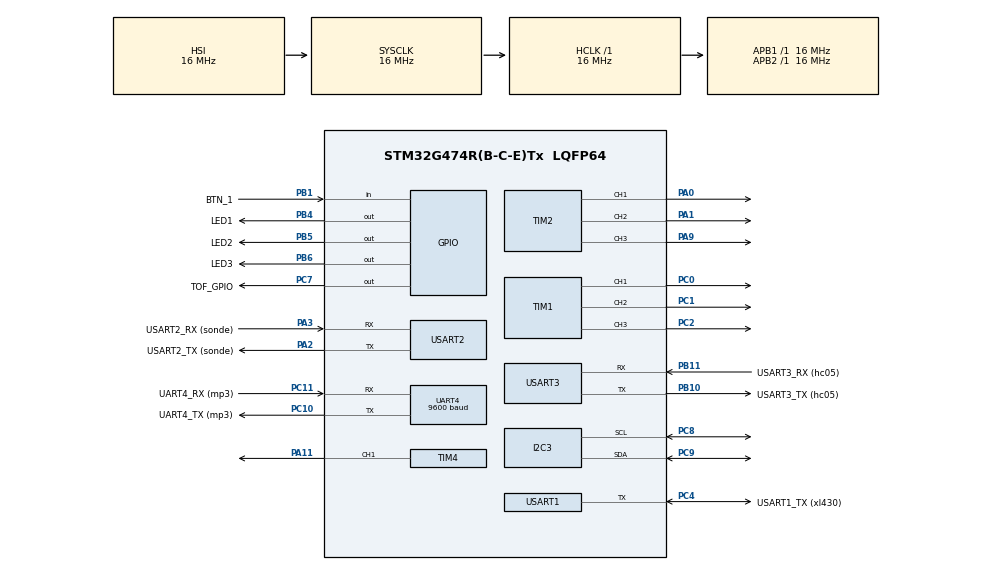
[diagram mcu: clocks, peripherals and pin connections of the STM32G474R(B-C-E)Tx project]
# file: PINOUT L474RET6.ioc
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I2C3.Timing=0x00503D58
Mcu.Family=STM32G4
Mcu.Name=STM32G474R(B-C-E)Tx
Mcu.Package=LQFP64
NVIC.PriorityGroup=NVIC_PRIORITYGROUP_4
PA0.Signal=S_TIM2_CH1
PA1.Signal=S_TIM2_CH2
PA11.Signal=S_TIM4_CH1
PA13.Mode=Serial_Wire
PA13.Signal=SYS_JTMS-SWDIO
PA14.Mode=Serial_Wire
PA14.Signal=SYS_JTCK-SWCLK
PA2.GPIO_Label=USART2_TX (sonde)
PA2.Mode=Asynchronous
PA2.Signal=USART2_TX
PA3.GPIO_Label=USART2_RX (sonde)
PA3.Mode=Asynchronous
PA3.Signal=USART2_RX
PA9.Signal=S_TIM2_CH3
PB1.GPIO_Label=BTN_1
PB1.Signal=GPIO_Input
PB10.GPIO_Label=USART3_TX (hc05)
PB10.Mode=Asynchronous
PB10.Signal=USART3_TX
PB11.GPIO_Label=USART3_RX (hc05)
PB11.Mode=Asynchronous
PB11.Signal=USART3_RX
PB4.GPIO_Label=LED1
PB4.Signal=GPIO_Output
PB5.GPIO_Label=LED2
PB5.Signal=GPIO_Output
PB6.GPIO_Label=LED3
PB6.Signal=GPIO_Output
PC0.Signal=S_TIM1_CH1
PC1.Signal=S_TIM1_CH2
PC10.GPIO_Label=UART4_TX (mp3)
PC10.Mode=Asynchronous
PC10.Signal=UART4_TX
PC11.GPIO_Label=UART4_RX (mp3)
PC11.Mode=Asynchronous
PC11.Signal=UART4_RX
PC2.Signal=S_TIM1_CH3
PC4.GPIO_Label=USART1_TX (xl430)
PC4.GPIO_PuPd=GPIO_PULLUP
PC4.Mode=Half_duplex(single_wire_mode)
PC4.Signal=USART1_TX
PC7.GPIO_Label=TOF_GPIO
PC7.Signal=GPIO_Output
PC8.Mode=I2C
PC8.Signal=I2C3_SCL
PC9.Mode=I2C
PC9.Signal=I2C3_SDA
ProjectManager.HeapSize=0x200
ProjectManager.StackSize=0x400
ProjectManager.TargetToolchain=STM32CubeIDE
RCC.AHBFreq_Value=16000000
RCC.APB1Freq_Value=16000000
RCC.APB1TimFreq_Value=16000000
RCC.APB2Freq_Value=16000000
RCC.APB2TimFreq_Value=16000000
RCC.CortexFreq_Value=16000000
RCC.EXTERNAL_CLOCK_VALUE=12288000
RCC.HCLKFreq_Value=16000000
RCC.HSE_VALUE=8000000
RCC.HSI48_VALUE=48000000
RCC.HSI_VALUE=16000000
RCC.LSE_VALUE=32768
RCC.SYSCLKFreq_VALUE=16000000
RCC.USBFreq_Value=64000000
RCC.VCOOutputFreq_Value=128000000
SH.S_TIM1_CH1.0=TIM1_CH1,PWM Generation1 CH1
SH.S_TIM1_CH2.0=TIM1_CH2,PWM Generation2 CH2
SH.S_TIM1_CH3.0=TIM1_CH3,PWM Generation3 CH3
SH.S_TIM2_CH1.0=TIM2_CH1,PWM Generation1 CH1
SH.S_TIM2_CH2.0=TIM2_CH2,PWM Generation2 CH2
SH.S_TIM2_CH3.0=TIM2_CH3,PWM Generation3 CH3
SH.S_TIM4_CH1.0=TIM4_CH1,PWM Generation1 CH1
TIM1.Channel-PWM\ Generation1\ CH1=TIM_CHANNEL_1
TIM1.Channel-PWM\ Generation2\ CH2=TIM_CHANNEL_2
TIM1.Channel-PWM\ Generation3\ CH3=TIM_CHANNEL_3
TIM2.Channel-PWM\ Generation1\ CH1=TIM_CHANNEL_1
TIM2.Channel-PWM\ Generation2\ CH2=TIM_CHANNEL_2
TIM2.Channel-PWM\ Generation3\ CH3=TIM_CHANNEL_3
TIM4.Channel-PWM\ Generation1\ CH1=TIM_CHANNEL_1
UART4.BaudRate=9600
UART4.SwapParam=UART_ADVFEATURE_SWAP_ENABLE
USART1.VirtualMode-Half_duplex(single_wire_mode)=VM_ASYNC
USART2.VirtualMode-Asynchronous=VM_ASYNC
USART3.VirtualMode-Asynchronous=VM_ASYNC
VP_SYS_VS_DBSignals.Mode=DisableDeadBatterySignals
VP_TIM1_VS_ClockSourceINT.Mode=Internal
VP_TIM2_VS_ClockSourceINT.Mode=Internal
VP_TIM4_VS_ClockSourceINT.Mode=Internal
board=custom

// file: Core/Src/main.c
/* USER CODE BEGIN Header */
/**
 ******************************************************************************
 * @file           : main.c
 * @brief          : Main program body
 ******************************************************************************
 * @attention
 *
 * Copyright (c) 2024 STMicroelectronics.
 * All rights reserved.
 *
 * This software is licensed under terms that can be found in the LICENSE file
 * in the root directory of this software component.
 * If no LICENSE file comes with this software, it is provided AS-IS.
 *
 ******************************************************************************
 */
/* USER CODE END Header */
#include "main.h"

/* USER CODE BEGIN Includes */
#include "xl430.h"
#include <stdio.h>
#include "stm32g4xx_hal.h"
#include "neopixel.h"
#include "vl53l1_platform.h"
#include "VL53L1X_api.h"
#include "mp3.h"

/* USER CODE END Includes */

/* USER CODE BEGIN PD */
#define VL53L1__ADDR 0x52
#ifdef __GNUC__
#define PUTCHAR_PROTOTYPE int __io_putchar(int ch)
#else
#define PUTCHAR_PROTOTYPE int fputc(int ch, FILE *f)
#endif
/* USER CODE END PD */

I2C_HandleTypeDef hi2c3;

TIM_HandleTypeDef htim1;
TIM_HandleTypeDef htim2;
TIM_HandleTypeDef htim4;

UART_HandleTypeDef huart4;
UART_HandleTypeDef huart1;
UART_HandleTypeDef huart2;
UART_HandleTypeDef huart3;

void SystemClock_Config(void);
static void MX_GPIO_Init(void);
static void MX_TIM1_Init(void);
static void MX_TIM2_Init(void);
static void MX_UART4_Init(void);
static void MX_USART1_UART_Init(void);
static void MX_USART2_UART_Init(void);
static void MX_USART3_UART_Init(void);
static void MX_I2C3_Init(void);
static void MX_TIM4_Init(void);

/* USER CODE BEGIN 0 */
#ifdef __GNUC__
#define PUTCHAR_PROTOTYPE int __io_putchar(int ch)
#define GETCHAR_PROTOTYPE int __io_getchar(void)
#else
#define PUTCHAR_PROTOTYPE int fputc(int ch, FILE *f)
#define GETCHAR_PROTOTYPE int fgetc(FILE *f)
#endif

PUTCHAR_PROTOTYPE {
    HAL_UART_Transmit(&huart2, (uint8_t *)&ch, 1, HAL_MAX_DELAY);
    return ch;
}

GETCHAR_PROTOTYPE
{
	uint8_t ch = 0;

	/* Clear the Overrun flag just before receiving the first character */
	__HAL_UART_CLEAR_OREFLAG(&huart2);

	/* Wait for reception of a character on the USART RX line and echo this
	 * character on console */
	HAL_UART_Receive(&huart2, (uint8_t *)&ch, 1, HAL_MAX_DELAY);
	HAL_UART_Transmit(&huart2, (uint8_t *)&ch, 1, HAL_MAX_DELAY);
	return ch;
}

/* USER CODE END 0 */

int main(void)
{

  /* MCU Configuration--------------------------------------------------------*/

  /* Reset of all peripherals, Initializes the Flash interface and the Systick. */
  HAL_Init();

  /* Configure the system clock */
  SystemClock_Config();

  /* Initialize all configured peripherals */
  MX_GPIO_Init();
  MX_TIM1_Init();
  MX_TIM2_Init();
  MX_UART4_Init();
  MX_USART1_UART_Init();
  MX_USART2_UART_Init();
  MX_USART3_UART_Init();
  MX_I2C3_Init();
  MX_TIM4_Init();
  /* USER CODE BEGIN 2 */

  /////// Init TOF

//  void I2C_Scan(I2C_HandleTypeDef *hi2c) {
//      printf("Scanning I2C bus...\r\n");
//      for (uint8_t addr = 0x01; addr < 0x7F; addr++) {
//          if (HAL_I2C_IsDeviceReady(hi2c, addr << 1, 1, 10) == HAL_OK) {
//              printf("Device found at 0x%02X\r\n", addr);
//          }
//      }
//      printf("Scan complete.\r\n");
//  }
//
//    uint8_t initStatus = VL53L1__Init();
//
//    if (initStatus != 0) {
//  	  printf("Erreur lors de l'initialisation du capteur ! Code erreur: %d\r\n", initStatus);
//        while (1);
//     }
//    printf("Capteur VL53L1X initialisé avec succès.\r\n");
//
//    uint16_t distance = 0;
//    uint8_t status;

  //////// Tests XL430

	printf("\r\n===== ANIMATRONIC EAGLE FUCK YEAH =====\r\n");
	__XL430_HandleTypeDef XL430_1;
	__XL430_HandleTypeDef XL430_2;

	/*XL430_Init(&XL430_1, &huart1, 3, 2);
	XL430_Init_debug(&XL430_1, &huart1, &huart2, 3, 2);
	XL430_Init(&XL430_2, &huart1, 4, 2);
	XL430_Init_debug(&XL430_2, &huart1, &huart2, 4, 2);
	//XL430_Ping(&XL430_1);
	//XL430_Ping(&XL430_2);
	XL430_Write_Data2(&XL430_1,XL430_REG_TORQUE_ENABLE,1);
	waitNms(20);
	XL430_Write_Data2(&XL430_2,XL430_REG_TORQUE_ENABLE,1);
	waitNms(20);
	(&XL430_2)->torque_enable = 1;
	(&XL430_1)->torque_enable = 1;
	XL430_Write_Data2(&XL430_1,XL430_REG_GOAL_VELOCITY,0);
	waitNms(40);
	XL430_Write_Data2(&XL430_2,XL430_REG_GOAL_VELOCITY,0);*/

	///////// Tests neopixel

	/*arrayResetAll();
	arrayRepaint();
	HAL_Delay(1000);
	arraySetColor(0,200,0,200);
	arraySetColor(25,220,220,0);
	arrayRepaint();
	HAL_Delay(1000);*/

	//arrayResetAll();
	//arrayRepaint();
	//HAL_Delay(500);
	//arraySetColor(0,255,0,0);
	//arraySetColor(1,255,0,0);
	//arraySetColor(142,255,255,0);
	//arraySetColor(141,255,255,0);
	//arrayRepaint();

	///////// Tests mp3 player

	mp3_selectStorageDevice();
	waitNms(20);
	mp3_setVolume(10);
	waitNms(20);
	mp3_playWithIndex(2);

  /* USER CODE END 2 */

  /* Infinite loop */
  /* USER CODE BEGIN WHILE */
	while (1)
	{

		///////// Tests TOF

//		status = VL53L1__GetDistance(&distance);
//		if (status == 0) {
//			printf("Distance mesurée: %d mm\r\n", distance);
//		} else {
//			printf("Erreur de lecture de la distance. Code erreur: %d\r\n", status);
//		}
//		waitNms(10);

		//rainbowWalk();
    /* USER CODE END WHILE */

	}
}

void SystemClock_Config(void)
{
  RCC_OscInitTypeDef RCC_OscInitStruct = {0};
  RCC_ClkInitTypeDef RCC_ClkInitStruct = {0};

  /** Configure the main internal regulator output voltage
  */
  HAL_PWREx_ControlVoltageScaling(PWR_REGULATOR_VOLTAGE_SCALE1);

  /** Initializes the RCC Oscillators according to the specified parameters
  * in the RCC_OscInitTypeDef structure.
  */
  RCC_OscInitStruct.OscillatorType = RCC_OSCILLATORTYPE_HSI;
  RCC_OscInitStruct.HSIState = RCC_HSI_ON;
  RCC_OscInitStruct.HSICalibrationValue = RCC_HSICALIBRATION_DEFAULT;
  RCC_OscInitStruct.PLL.PLLState = RCC_PLL_NONE;
  if (HAL_RCC_OscConfig(&RCC_OscInitStruct) != HAL_OK)
  {
    Error_Handler();
  }

  /** Initializes the CPU, AHB and APB buses clocks
  */
  RCC_ClkInitStruct.ClockType = RCC_CLOCKTYPE_HCLK|RCC_CLOCKTYPE_SYSCLK
                              |RCC_CLOCKTYPE_PCLK1|RCC_CLOCKTYPE_PCLK2;
  RCC_ClkInitStruct.SYSCLKSource = RCC_SYSCLKSOURCE_HSI;
  RCC_ClkInitStruct.AHBCLKDivider = RCC_SYSCLK_DIV1;
  RCC_ClkInitStruct.APB1CLKDivider = RCC_HCLK_DIV1;
  RCC_ClkInitStruct.APB2CLKDivider = RCC_HCLK_DIV1;

  if (HAL_RCC_ClockConfig(&RCC_ClkInitStruct, FLASH_LATENCY_0) != HAL_OK)
  {
    Error_Handler();
  }
}

static void MX_I2C3_Init(void)
{

  hi2c3.Instance = I2C3;
  hi2c3.Init.Timing = 0x00503D58;
  hi2c3.Init.OwnAddress1 = 0;
  hi2c3.Init.AddressingMode = I2C_ADDRESSINGMODE_7BIT;
  hi2c3.Init.DualAddressMode = I2C_DUALADDRESS_DISABLE;
  hi2c3.Init.OwnAddress2 = 0;
  hi2c3.Init.OwnAddress2Masks = I2C_OA2_NOMASK;
  hi2c3.Init.GeneralCallMode = I2C_GENERALCALL_DISABLE;
  hi2c3.Init.NoStretchMode = I2C_NOSTRETCH_DISABLE;
  if (HAL_I2C_Init(&hi2c3) != HAL_OK)
  {
    Error_Handler();
  }

  /** Configure Analogue filter
  */
  if (HAL_I2CEx_ConfigAnalogFilter(&hi2c3, I2C_ANALOGFILTER_ENABLE) != HAL_OK)
  {
    Error_Handler();
  }

  /** Configure Digital filter
  */
  if (HAL_I2CEx_ConfigDigitalFilter(&hi2c3, 0) != HAL_OK)
  {
    Error_Handler();
  }

}

static void MX_TIM1_Init(void)
{

  TIM_ClockConfigTypeDef sClockSourceConfig = {0};
  TIM_MasterConfigTypeDef sMasterConfig = {0};
  TIM_OC_InitTypeDef sConfigOC = {0};
  TIM_BreakDeadTimeConfigTypeDef sBreakDeadTimeConfig = {0};

  htim1.Instance = TIM1;
  htim1.Init.Prescaler = 0;
  htim1.Init.CounterMode = TIM_COUNTERMODE_UP;
  htim1.Init.Period = 65535;
  htim1.Init.ClockDivision = TIM_CLOCKDIVISION_DIV1;
  htim1.Init.RepetitionCounter = 0;
  htim1.Init.AutoReloadPreload = TIM_AUTORELOAD_PRELOAD_DISABLE;
  if (HAL_TIM_Base_Init(&htim1) != HAL_OK)
  {
    Error_Handler();
  }
  sClockSourceConfig.ClockSource = TIM_CLOCKSOURCE_INTERNAL;
  if (HAL_TIM_ConfigClockSource(&htim1, &sClockSourceConfig) != HAL_OK)
  {
    Error_Handler();
  }
  if (HAL_TIM_PWM_Init(&htim1) != HAL_OK)
  {
    Error_Handler();
  }
  sMasterConfig.MasterOutputTrigger = TIM_TRGO_RESET;
  sMasterConfig.MasterOutputTrigger2 = TIM_TRGO2_RESET;
  sMasterConfig.MasterSlaveMode = TIM_MASTERSLAVEMODE_DISABLE;
  if (HAL_TIMEx_MasterConfigSynchronization(&htim1, &sMasterConfig) != HAL_OK)
  {
    Error_Handler();
  }
  sConfigOC.OCMode = TIM_OCMODE_PWM1;
  sConfigOC.Pulse = 0;
  sConfigOC.OCPolarity = TIM_OCPOLARITY_HIGH;
  sConfigOC.OCNPolarity = TIM_OCNPOLARITY_HIGH;
  sConfigOC.OCFastMode = TIM_OCFAST_DISABLE;
  sConfigOC.OCIdleState = TIM_OCIDLESTATE_RESET;
  sConfigOC.OCNIdleState = TIM_OCNIDLESTATE_RESET;
  if (HAL_TIM_PWM_ConfigChannel(&htim1, &sConfigOC, TIM_CHANNEL_1) != HAL_OK)
  {
    Error_Handler();
  }
  if (HAL_TIM_PWM_ConfigChannel(&htim1, &sConfigOC, TIM_CHANNEL_2) != HAL_OK)
  {
    Error_Handler();
  }
  if (HAL_TIM_PWM_ConfigChannel(&htim1, &sConfigOC, TIM_CHANNEL_3) != HAL_OK)
  {
    Error_Handler();
  }
  sBreakDeadTimeConfig.OffStateRunMode = TIM_OSSR_DISABLE;
  sBreakDeadTimeConfig.OffStateIDLEMode = TIM_OSSI_DISABLE;
  sBreakDeadTimeConfig.LockLevel = TIM_LOCKLEVEL_OFF;
  sBreakDeadTimeConfig.DeadTime = 0;
  sBreakDeadTimeConfig.BreakState = TIM_BREAK_DISABLE;
  sBreakDeadTimeConfig.BreakPolarity = TIM_BREAKPOLARITY_HIGH;
  sBreakDeadTimeConfig.BreakFilter = 0;
  sBreakDeadTimeConfig.BreakAFMode = TIM_BREAK_AFMODE_INPUT;
  sBreakDeadTimeConfig.Break2State = TIM_BREAK2_DISABLE;
  sBreakDeadTimeConfig.Break2Polarity = TIM_BREAK2POLARITY_HIGH;
  sBreakDeadTimeConfig.Break2Filter = 0;
  sBreakDeadTimeConfig.Break2AFMode = TIM_BREAK_AFMODE_INPUT;
  sBreakDeadTimeConfig.AutomaticOutput = TIM_AUTOMATICOUTPUT_DISABLE;
  if (HAL_TIMEx_ConfigBreakDeadTime(&htim1, &sBreakDeadTimeConfig) != HAL_OK)
  {
    Error_Handler();
  }
  HAL_TIM_MspPostInit(&htim1);

}

static void MX_TIM2_Init(void)
{

  TIM_ClockConfigTypeDef sClockSourceConfig = {0};
  TIM_MasterConfigTypeDef sMasterConfig = {0};
  TIM_OC_InitTypeDef sConfigOC = {0};

  htim2.Instance = TIM2;
  htim2.Init.Prescaler = 0;
  htim2.Init.CounterMode = TIM_COUNTERMODE_UP;
  htim2.Init.Period = 4294967295;
  htim2.Init.ClockDivision = TIM_CLOCKDIVISION_DIV1;
  htim2.Init.AutoReloadPreload = TIM_AUTORELOAD_PRELOAD_DISABLE;
  if (HAL_TIM_Base_Init(&htim2) != HAL_OK)
  {
    Error_Handler();
  }
  sClockSourceConfig.ClockSource = TIM_CLOCKSOURCE_INTERNAL;
  if (HAL_TIM_ConfigClockSource(&htim2, &sClockSourceConfig) != HAL_OK)
  {
    Error_Handler();
  }
  if (HAL_TIM_PWM_Init(&htim2) != HAL_OK)
  {
    Error_Handler();
  }
  sMasterConfig.MasterOutputTrigger = TIM_TRGO_RESET;
  sMasterConfig.MasterSlaveMode = TIM_MASTERSLAVEMODE_DISABLE;
  if (HAL_TIMEx_MasterConfigSynchronization(&htim2, &sMasterConfig) != HAL_OK)
  {
    Error_Handler();
  }
  sConfigOC.OCMode = TIM_OCMODE_PWM1;
  sConfigOC.Pulse = 0;
  sConfigOC.OCPolarity = TIM_OCPOLARITY_HIGH;
  sConfigOC.OCFastMode = TIM_OCFAST_DISABLE;
  if (HAL_TIM_PWM_ConfigChannel(&htim2, &sConfigOC, TIM_CHANNEL_1) != HAL_OK)
  {
    Error_Handler();
  }
  if (HAL_TIM_PWM_ConfigChannel(&htim2, &sConfigOC, TIM_CHANNEL_2) != HAL_OK)
  {
    Error_Handler();
  }
  if (HAL_TIM_PWM_ConfigChannel(&htim2, &sConfigOC, TIM_CHANNEL_3) != HAL_OK)
  {
    Error_Handler();
  }
  HAL_TIM_MspPostInit(&htim2);

}

static void MX_TIM4_Init(void)
{

  TIM_ClockConfigTypeDef sClockSourceConfig = {0};
  TIM_MasterConfigTypeDef sMasterConfig = {0};
  TIM_OC_InitTypeDef sConfigOC = {0};

  htim4.Instance = TIM4;
  htim4.Init.Prescaler = 0;
  htim4.Init.CounterMode = TIM_COUNTERMODE_UP;
  htim4.Init.Period = 65535;
  htim4.Init.ClockDivision = TIM_CLOCKDIVISION_DIV1;
  htim4.Init.AutoReloadPreload = TIM_AUTORELOAD_PRELOAD_DISABLE;
  if (HAL_TIM_Base_Init(&htim4) != HAL_OK)
  {
    Error_Handler();
  }
  sClockSourceConfig.ClockSource = TIM_CLOCKSOURCE_INTERNAL;
  if (HAL_TIM_ConfigClockSource(&htim4, &sClockSourceConfig) != HAL_OK)
  {
    Error_Handler();
  }
  if (HAL_TIM_PWM_Init(&htim4) != HAL_OK)
  {
    Error_Handler();
  }
  sMasterConfig.MasterOutputTrigger = TIM_TRGO_RESET;
  sMasterConfig.MasterSlaveMode = TIM_MASTERSLAVEMODE_DISABLE;
  if (HAL_TIMEx_MasterConfigSynchronization(&htim4, &sMasterConfig) != HAL_OK)
  {
    Error_Handler();
  }
  sConfigOC.OCMode = TIM_OCMODE_PWM1;
  sConfigOC.Pulse = 0;
  sConfigOC.OCPolarity = TIM_OCPOLARITY_HIGH;
  sConfigOC.OCFastMode = TIM_OCFAST_DISABLE;
  if (HAL_TIM_PWM_ConfigChannel(&htim4, &sConfigOC, TIM_CHANNEL_1) != HAL_OK)
  {
    Error_Handler();
  }
  HAL_TIM_MspPostInit(&htim4);

}

static void MX_UART4_Init(void)
{

  huart4.Instance = UART4;
  huart4.Init.BaudRate = 9600;
  huart4.Init.WordLength = UART_WORDLENGTH_8B;
  huart4.Init.StopBits = UART_STOPBITS_1;
  huart4.Init.Parity = UART_PARITY_NONE;
  huart4.Init.Mode = UART_MODE_TX_RX;
  huart4.Init.HwFlowCtl = UART_HWCONTROL_NONE;
  huart4.Init.OverSampling = UART_OVERSAMPLING_16;
  huart4.Init.OneBitSampling = UART_ONE_BIT_SAMPLE_DISABLE;
  huart4.Init.ClockPrescaler = UART_PRESCALER_DIV1;
  huart4.AdvancedInit.AdvFeatureInit = UART_ADVFEATURE_SWAP_INIT;
  huart4.AdvancedInit.Swap = UART_ADVFEATURE_SWAP_ENABLE;
  if (HAL_UART_Init(&huart4) != HAL_OK)
  {
    Error_Handler();
  }
  if (HAL_UARTEx_SetTxFifoThreshold(&huart4, UART_TXFIFO_THRESHOLD_1_8) != HAL_OK)
  {
    Error_Handler();
  }
  if (HAL_UARTEx_SetRxFifoThreshold(&huart4, UART_RXFIFO_THRESHOLD_1_8) != HAL_OK)
  {
    Error_Handler();
  }
  if (HAL_UARTEx_DisableFifoMode(&huart4) != HAL_OK)
  {
    Error_Handler();
  }

}

static void MX_USART1_UART_Init(void)
{

  huart1.Instance = USART1;
  huart1.Init.BaudRate = 115200;
  huart1.Init.WordLength = UART_WORDLENGTH_8B;
  huart1.Init.StopBits = UART_STOPBITS_1;
  huart1.Init.Parity = UART_PARITY_NONE;
  huart1.Init.Mode = UART_MODE_TX_RX;
  huart1.Init.HwFlowCtl = UART_HWCONTROL_NONE;
  huart1.Init.OverSampling = UART_OVERSAMPLING_16;
  huart1.Init.OneBitSampling = UART_ONE_BIT_SAMPLE_DISABLE;
  huart1.Init.ClockPrescaler = UART_PRESCALER_DIV1;
  huart1.AdvancedInit.AdvFeatureInit = UART_ADVFEATURE_NO_INIT;
  if (HAL_HalfDuplex_Init(&huart1) != HAL_OK)
  {
    Error_Handler();
  }
  if (HAL_UARTEx_SetTxFifoThreshold(&huart1, UART_TXFIFO_THRESHOLD_1_8) != HAL_OK)
  {
    Error_Handler();
  }
  if (HAL_UARTEx_SetRxFifoThreshold(&huart1, UART_RXFIFO_THRESHOLD_1_8) != HAL_OK)
  {
    Error_Handler();
  }
  if (HAL_UARTEx_DisableFifoMode(&huart1) != HAL_OK)
  {
    Error_Handler();
  }

}

static void MX_USART2_UART_Init(void)
{

  huart2.Instance = USART2;
  huart2.Init.BaudRate = 115200;
  huart2.Init.WordLength = UART_WORDLENGTH_8B;
  huart2.Init.StopBits = UART_STOPBITS_1;
  huart2.Init.Parity = UART_PARITY_NONE;
  huart2.Init.Mode = UART_MODE_TX_RX;
  huart2.Init.HwFlowCtl = UART_HWCONTROL_NONE;
  huart2.Init.OverSampling = UART_OVERSAMPLING_16;
  huart2.Init.OneBitSampling = UART_ONE_BIT_SAMPLE_DISABLE;
  huart2.Init.ClockPrescaler = UART_PRESCALER_DIV1;
  huart2.AdvancedInit.AdvFeatureInit = UART_ADVFEATURE_NO_INIT;
  if (HAL_UART_Init(&huart2) != HAL_OK)
  {
    Error_Handler();
  }
  if (HAL_UARTEx_SetTxFifoThreshold(&huart2, UART_TXFIFO_THRESHOLD_1_8) != HAL_OK)
  {
    Error_Handler();
  }
  if (HAL_UARTEx_SetRxFifoThreshold(&huart2, UART_RXFIFO_THRESHOLD_1_8) != HAL_OK)
  {
    Error_Handler();
  }
  if (HAL_UARTEx_DisableFifoMode(&huart2) != HAL_OK)
  {
    Error_Handler();
  }

}

static void MX_USART3_UART_Init(void)
{

  huart3.Instance = USART3;
  huart3.Init.BaudRate = 115200;
  huart3.Init.WordLength = UART_WORDLENGTH_8B;
  huart3.Init.StopBits = UART_STOPBITS_1;
  huart3.Init.Parity = UART_PARITY_NONE;
  huart3.Init.Mode = UART_MODE_TX_RX;
  huart3.Init.HwFlowCtl = UART_HWCONTROL_NONE;
  huart3.Init.OverSampling = UART_OVERSAMPLING_16;
  huart3.Init.OneBitSampling = UART_ONE_BIT_SAMPLE_DISABLE;
  huart3.Init.ClockPrescaler = UART_PRESCALER_DIV1;
  huart3.AdvancedInit.AdvFeatureInit = UART_ADVFEATURE_NO_INIT;
  if (HAL_UART_Init(&huart3) != HAL_OK)
  {
    Error_Handler();
  }
  if (HAL_UARTEx_SetTxFifoThreshold(&huart3, UART_TXFIFO_THRESHOLD_1_8) != HAL_OK)
  {
    Error_Handler();
  }
  if (HAL_UARTEx_SetRxFifoThreshold(&huart3, UART_RXFIFO_THRESHOLD_1_8) != HAL_OK)
  {
    Error_Handler();
  }
  if (HAL_UARTEx_DisableFifoMode(&huart3) != HAL_OK)
  {
    Error_Handler();
  }

}

static void MX_GPIO_Init(void)
{
  GPIO_InitTypeDef GPIO_InitStruct = {0};

  /* GPIO Ports Clock Enable */
  __HAL_RCC_GPIOC_CLK_ENABLE();
  __HAL_RCC_GPIOA_CLK_ENABLE();
  __HAL_RCC_GPIOB_CLK_ENABLE();

  /*Configure GPIO pin Output Level */
  HAL_GPIO_WritePin(TOF_GPIO_GPIO_Port, TOF_GPIO_Pin, GPIO_PIN_RESET);

  /*Configure GPIO pin Output Level */
  HAL_GPIO_WritePin(GPIOB, LED1_Pin|LED2_Pin|LED3_Pin, GPIO_PIN_RESET);

  /*Configure GPIO pin : BTN_1_Pin */
  GPIO_InitStruct.Pin = BTN_1_Pin;
  GPIO_InitStruct.Mode = GPIO_MODE_INPUT;
  GPIO_InitStruct.Pull = GPIO_NOPULL;
  HAL_GPIO_Init(BTN_1_GPIO_Port, &GPIO_InitStruct);

  /*Configure GPIO pin : TOF_GPIO_Pin */
  GPIO_InitStruct.Pin = TOF_GPIO_Pin;
  GPIO_InitStruct.Mode = GPIO_MODE_OUTPUT_PP;
  GPIO_InitStruct.Pull = GPIO_NOPULL;
  GPIO_InitStruct.Speed = GPIO_SPEED_FREQ_LOW;
  HAL_GPIO_Init(TOF_GPIO_GPIO_Port, &GPIO_InitStruct);

  /*Configure GPIO pins : LED1_Pin LED2_Pin LED3_Pin */
  GPIO_InitStruct.Pin = LED1_Pin|LED2_Pin|LED3_Pin;
  GPIO_InitStruct.Mode = GPIO_MODE_OUTPUT_PP;
  GPIO_InitStruct.Pull = GPIO_NOPULL;
  GPIO_InitStruct.Speed = GPIO_SPEED_FREQ_LOW;
  HAL_GPIO_Init(GPIOB, &GPIO_InitStruct);

}

void Error_Handler(void)
{
	__disable_irq();
	while (1)
	{
	}
}
